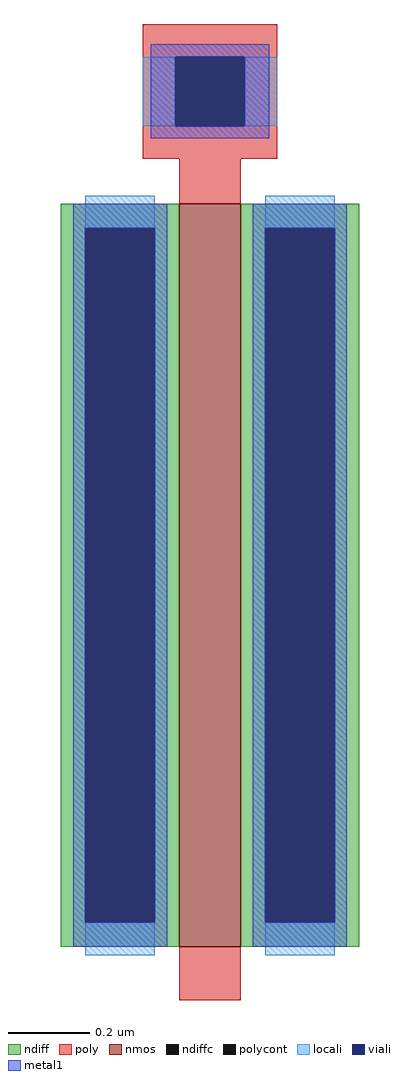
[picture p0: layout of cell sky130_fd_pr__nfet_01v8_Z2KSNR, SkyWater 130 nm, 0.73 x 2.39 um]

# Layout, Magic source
magic
tech sky130A
magscale 1 2
<< nmos >>
rect -15 -213 15 151
<< ndiff >>
rect -73 139 -15 151
rect -73 -201 -61 139
rect -27 -201 -15 139
rect -73 -213 -15 -201
rect 15 139 73 151
rect 15 -201 27 139
rect 61 -201 73 139
rect 15 -213 73 -201
<< ndiffc >>
rect -61 -201 -27 139
rect 27 -201 61 139
<< poly >>
rect -33 223 33 239
rect -33 189 -17 223
rect 17 189 33 223
rect -33 173 33 189
rect -15 151 15 173
rect -15 -239 15 -213
<< polycont >>
rect -17 189 17 223
<< locali >>
rect -33 189 -17 223
rect 17 189 33 223
rect -61 139 -27 155
rect -61 -217 -27 -201
rect 27 139 61 155
rect 27 -217 61 -201
<< viali >>
rect -17 189 17 223
rect -61 -201 -27 139
rect 27 -201 61 139
<< metal1 >>
rect -29 223 29 229
rect -29 189 -17 223
rect 17 189 29 223
rect -29 183 29 189
rect -67 139 -21 151
rect -67 -201 -61 139
rect -27 -201 -21 139
rect -67 -213 -21 -201
rect 21 139 67 151
rect 21 -201 27 139
rect 61 -201 67 139
rect 21 -213 67 -201
<< properties >>
string gencell sky130_fd_pr__nfet_01v8
string library sky130
string parameters w 1.82 l 0.15 m 1 nf 1 diffcov 100 polycov 100 guard 0 glc 1 grc 1 gtc 1 gbc 1 tbcov 100 rlcov 100 topc 1 botc 0 poverlap 0 doverlap 1 lmin 0.15 wmin 0.42 compatible {sky130_fd_pr__nfet_01v8 sky130_fd_pr__nfet_01v8_lvt  sky130_fd_bs_flash__special_sonosfet_star  sky130_fd_pr__nfet_g5v0d10v5 sky130_fd_pr__nfet_05v0_nvt  sky130_fd_pr__nfet_03v3_nvt} full_metal 0 viasrc 100 viadrn 100 viagate 100 viagb 0 viagr 0 viagl 0 viagt 0
<< end >>
